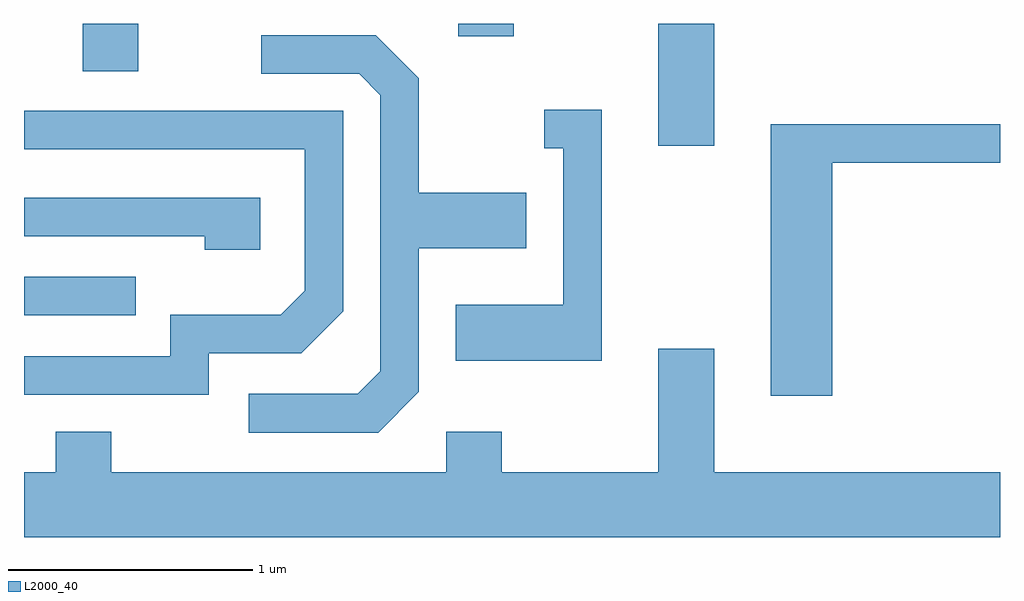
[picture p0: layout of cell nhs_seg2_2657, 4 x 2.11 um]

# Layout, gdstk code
import gdstk
lib = gdstk.Library(unit=1e-6, precision=1e-09)
def R(c, l, rs):  # rectangles x0, y0, x1, y1
    for r in rs: c.add(gdstk.rectangle(r[:2], r[2:], *l))
def P(c, l, *ps):  # polygons
    for p in ps: c.add(gdstk.Polygon(p, *l))
L2000_40 = (2000, 40)

nhs_seg2_2657 = lib.new_cell('nhs_seg2_2657')
R(nhs_seg2_2657, L2000_40, [(263.611,1002.606,264.068,1002.764), (266.211,1003.301,266.439,1003.802), (263.851,1003.606,264.079,1003.802), (265.391,1003.751,265.619,1003.802)])
P(nhs_seg2_2657, L2000_40, [(265.229,1002.294),(265.229,1002.881),(265.669,1002.881),(265.669,1003.109),(265.229,1003.109),(265.229,1003.577),(265.052,1003.754),(264.583,1003.754),(264.583,1003.596),(264.984,1003.596),(265.071,1003.509),(265.071,1002.377),(264.979,1002.284),(264.533,1002.284),(264.533,1002.126),(265.062,1002.126)],
  [(265.979,1003.449),(265.743,1003.449),(265.743,1003.291),(265.821,1003.291),(265.821,1002.649),(265.381,1002.649),(265.381,1002.421),(265.979,1002.421)],
  [(264.369,1002.451),(264.747,1002.451),(264.919,1002.624),(264.919,1003.444),(263.611,1003.444),(263.611,1003.286),(264.761,1003.286),(264.761,1002.707),(264.664,1002.609),(264.211,1002.609),(264.211,1002.439),(263.611,1002.439),(263.611,1002.281),(264.369,1002.281)],
  [(266.924,1003.231),(267.611,1003.231),(267.611,1003.389),(266.671,1003.389),(266.671,1002.276),(266.924,1002.276)],
  [(264.579,1003.089),(263.611,1003.089),(263.611,1002.931),(264.351,1002.931),(264.351,1002.876),(264.579,1002.876)],
  [(267.611,1001.964),(266.439,1001.964),(266.439,1002.469),(266.211,1002.469),(266.211,1001.964),(265.569,1001.964),(265.569,1002.129),(265.341,1002.129),(265.341,1001.964),(263.969,1001.964),(263.969,1002.129),(263.741,1002.129),(263.741,1001.964),(263.611,1001.964),(263.611,1001.696),(267.611,1001.696)])

lib.write_gds('nhs_seg2_2657.gds')
